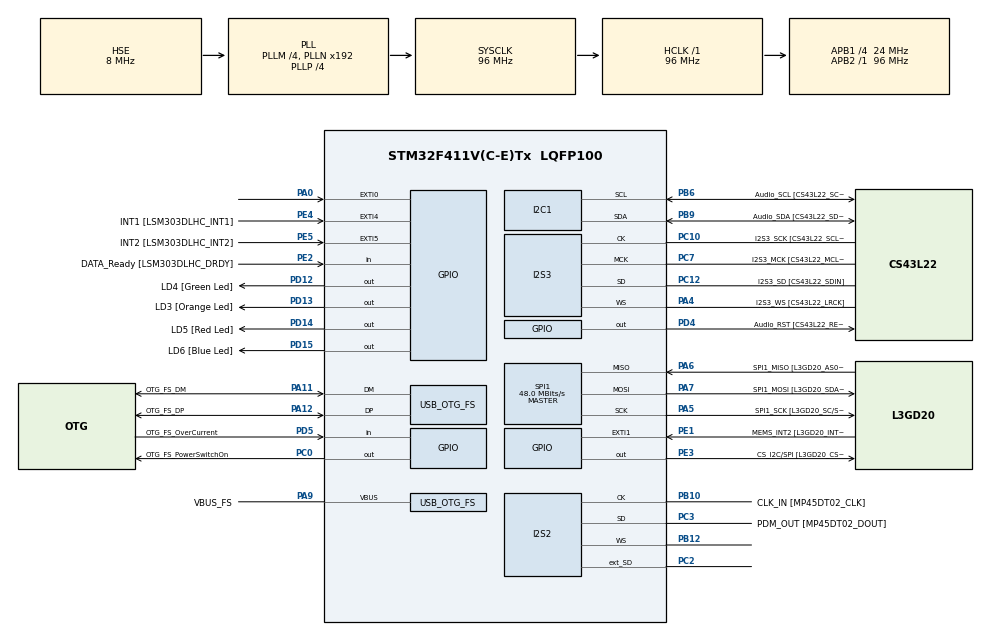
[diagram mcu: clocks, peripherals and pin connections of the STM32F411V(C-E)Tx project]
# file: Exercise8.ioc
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FREERTOS.BinarySemaphores01=CriticalResourceSemaphore,Dynamic,NULL
FREERTOS.Tasks01=GreenLEDTask,0,128,StartGreenLEDTask,Default,NULL,Dynamic,NULL,NULL;RedLEDTask,0,128,StartRedLEDTask,Default,NULL,Dynamic,NULL,NULL;OrangeLEDTask,1,128,StartOrangeLEDTask,Default,NULL,Dynamic,NULL,NULL
I2S2.AudioFreq=I2S_AUDIOFREQ_96K
I2S2.ErrorAudioFreq=0.15 %
I2S2.FullDuplexMode=I2S_FULLDUPLEXMODE_ENABLE
I2S2.Instance=SPI$Index
I2S2.RealAudioFreq=96.153 KHz
I2S2.VirtualMode=I2S_MODE_MASTER
I2S3.AudioFreq=I2S_AUDIOFREQ_96K
I2S3.ErrorAudioFreq=-6.99 %
I2S3.FullDuplexMode=I2S_FULLDUPLEXMODE_DISABLE
I2S3.Instance=SPI$Index
I2S3.RealAudioFreq=89.285 KHz
I2S3.VirtualMode=I2S_MODE_MASTER
Mcu.Family=STM32F4
Mcu.Name=STM32F411V(C-E)Tx
Mcu.Package=LQFP100
NVIC.OTG_FS_IRQn=true\:5\:0\:false\:false\:true\:true\:true\:true
NVIC.PriorityGroup=NVIC_PRIORITYGROUP_4
NVIC.TIM1_UP_TIM10_IRQn=true\:0\:0\:false\:false\:true\:false\:false\:true
NVIC.TimeBase=TIM1_UP_TIM10_IRQn
NVIC.TimeBaseIP=TIM1
PA0-WKUP.GPIO_ModeDefaultEXTI=GPIO_MODE_EVT_RISING
PA0-WKUP.Signal=GPXTI0
PA10.GPIO_Label=OTG_FS_ID
PA10.Signal=USB_OTG_FS_ID
PA11.GPIO_Label=OTG_FS_DM
PA11.Mode=Host_Only
PA11.Signal=USB_OTG_FS_DM
PA12.GPIO_Label=OTG_FS_DP
PA12.Mode=Host_Only
PA12.Signal=USB_OTG_FS_DP
PA13.GPIO_Label=SWDIO
PA13.Mode=Serial_Wire
PA13.Signal=SYS_JTMS-SWDIO
PA14.GPIO_Label=SWCLK
PA14.Mode=Serial_Wire
PA14.Signal=SYS_JTCK-SWCLK
PA4.GPIO_Label=I2S3_WS [CS43L22_LRCK]
PA4.GPIO_Mode=GPIO_MODE_AF_PP
PA4.GPIO_PuPd=GPIO_NOPULL
PA4.GPIO_Speed=GPIO_SPEED_FREQ_LOW
PA4.Mode=Half_Duplex_Master
PA4.Signal=I2S3_WS
PA5.GPIO_Label=SPI1_SCK [L3GD20_SC/SPC]
PA5.Mode=Full_Duplex_Master
PA5.Signal=SPI1_SCK
PA6.GPIO_Label=SPI1_MISO [L3GD20_AS0/SDO]
PA6.Mode=Full_Duplex_Master
PA6.Signal=SPI1_MISO
PA7.GPIO_Label=SPI1_MOSI [L3GD20_SDA/SDI/SDO]
PA7.Mode=Full_Duplex_Master
PA7.Signal=SPI1_MOSI
PA9.GPIO_Label=VBUS_FS
PA9.Mode=Activate_VBUS
PA9.Signal=USB_OTG_FS_VBUS
PB10.GPIO_Label=CLK_IN [MP45DT02_CLK]
PB10.Mode=Full_Duplex_Master
PB10.Signal=I2S2_CK
PB12.Mode=Full_Duplex_Master
PB12.Signal=I2S2_WS
PB3.GPIO_Label=SWO
PB3.Signal=SYS_JTDO-SWO
PB6.GPIO_Label=Audio_SCL [CS43L22_SCL]
PB6.GPIO_Mode=GPIO_MODE_AF_OD
PB6.GPIO_PuPd=GPIO_NOPULL
PB6.GPIO_Speed=GPIO_SPEED_FREQ_LOW
PB6.Mode=I2C
PB6.Signal=I2C1_SCL
PB9.GPIO_Label=Audio_SDA [CS43L22_SDA]
PB9.GPIO_Mode=GPIO_MODE_AF_OD
PB9.GPIO_PuPd=GPIO_NOPULL
PB9.GPIO_Speed=GPIO_SPEED_FREQ_LOW
PB9.Mode=I2C
PB9.Signal=I2C1_SDA
PC0.GPIO_Label=OTG_FS_PowerSwitchOn
PC0.PinState=GPIO_PIN_SET
PC0.Signal=GPIO_Output
PC10.GPIO_Label=I2S3_SCK [CS43L22_SCLK]
PC10.GPIO_Mode=GPIO_MODE_AF_PP
PC10.GPIO_PuPd=GPIO_NOPULL
PC10.GPIO_Speed=GPIO_SPEED_FREQ_LOW
PC10.Mode=Half_Duplex_Master
PC10.Signal=I2S3_CK
PC12.GPIO_Label=I2S3_SD [CS43L22_SDIN]
PC12.GPIO_Mode=GPIO_MODE_AF_PP
PC12.GPIO_PuPd=GPIO_NOPULL
PC12.GPIO_Speed=GPIO_SPEED_FREQ_LOW
PC12.Mode=Half_Duplex_Master
PC12.Signal=I2S3_SD
PC14-OSC32_IN.GPIO_Label=PC14-OSC32_IN
PC14-OSC32_IN.Mode=LSE-External-Oscillator
PC14-OSC32_IN.Signal=RCC_OSC32_IN
PC15-OSC32_OUT.GPIO_Label=PC15-OSC32_OUT
PC15-OSC32_OUT.Mode=LSE-External-Oscillator
PC15-OSC32_OUT.Signal=RCC_OSC32_OUT
PC2.Mode=Full_Duplex_Master
PC2.Signal=I2S2_ext_SD
PC3.GPIO_Label=PDM_OUT [MP45DT02_DOUT]
PC3.Mode=Full_Duplex_Master
PC3.Signal=I2S2_SD
PC7.GPIO_Label=I2S3_MCK [CS43L22_MCLK]
PC7.GPIO_Mode=GPIO_MODE_AF_PP
PC7.GPIO_PuPd=GPIO_NOPULL
PC7.GPIO_Speed=GPIO_SPEED_FREQ_LOW
PC7.Mode=Master_Clock_Activated
PC7.Signal=I2S3_MCK
PD12.GPIO_Label=LD4 [Green Led]
PD12.GPIO_PuPd=GPIO_NOPULL
PD12.GPIO_Speed=GPIO_SPEED_FREQ_LOW
PD12.Signal=GPIO_Output
PD13.GPIO_Label=LD3 [Orange Led]
PD13.GPIO_PuPd=GPIO_NOPULL
PD13.GPIO_Speed=GPIO_SPEED_FREQ_LOW
PD13.Signal=GPIO_Output
PD14.GPIO_Label=LD5 [Red Led]
PD14.GPIO_PuPd=GPIO_NOPULL
PD14.GPIO_Speed=GPIO_SPEED_FREQ_LOW
PD14.Signal=GPIO_Output
PD15.GPIO_Label=LD6 [Blue Led]
PD15.GPIO_PuPd=GPIO_NOPULL
PD15.GPIO_Speed=GPIO_SPEED_FREQ_LOW
PD15.Signal=GPIO_Output
PD4.GPIO_Label=Audio_RST [CS43L22_RESET]
PD4.Signal=GPIO_Output
PD5.GPIO_Label=OTG_FS_OverCurrent
PD5.Signal=GPIO_Input
PE1.GPIO_Label=MEMS_INT2 [L3GD20_INT2]
PE1.GPIO_ModeDefaultEXTI=GPIO_MODE_EVT_RISING
PE1.Signal=GPXTI1
PE2.GPIO_Label=DATA_Ready [LSM303DLHC_DRDY]
PE2.Signal=GPIO_Input
PE3.GPIO_Label=CS_I2C/SPI [L3GD20_CS_I2C/SPI]
PE3.Signal=GPIO_Output
PE4.GPIO_Label=INT1 [LSM303DLHC_INT1]
PE4.GPIO_ModeDefaultEXTI=GPIO_MODE_EVT_RISING
PE4.Signal=GPXTI4
PE5.GPIO_Label=INT2 [LSM303DLHC_INT2]
PE5.GPIO_ModeDefaultEXTI=GPIO_MODE_EVT_RISING
PE5.Signal=GPXTI5
PH0\ -\ OSC_IN.GPIO_Label=PH0-OSC_IN
PH0\ -\ OSC_IN.Mode=HSE-External-Oscillator
PH0\ -\ OSC_IN.Signal=RCC_OSC_IN
PH1\ -\ OSC_OUT.GPIO_Label=PH1-OSC_OUT
PH1\ -\ OSC_OUT.Mode=HSE-External-Oscillator
PH1\ -\ OSC_OUT.Signal=RCC_OSC_OUT
ProjectManager.HeapSize=0x200
ProjectManager.StackSize=0x400
ProjectManager.TargetToolchain=STM32CubeIDE
RCC.48MHZClocksFreq_Value=48000000
RCC.AHBFreq_Value=96000000
RCC.APB1CLKDivider=RCC_HCLK_DIV4
RCC.APB1Freq_Value=24000000
RCC.APB1TimFreq_Value=48000000
RCC.APB2Freq_Value=96000000
RCC.APB2TimFreq_Value=96000000
RCC.CortexFreq_Value=96000000
RCC.HCLKFreq_Value=96000000
RCC.HSE_VALUE=8000000
RCC.HSI_VALUE=16000000
RCC.PLLI2SM=5
RCC.PLLI2SN=200
RCC.PLLM=4
RCC.PLLP=RCC_PLLP_DIV4
RCC.PLLQ=8
RCC.SYSCLKFreq_VALUE=96000000
RCC.SYSCLKSource=RCC_SYSCLKSOURCE_PLLCLK
RCC.VCOOutputFreq_Value=384000000
SPI1.BaudRatePrescaler=SPI_BAUDRATEPRESCALER_2
SPI1.CalculateBaudRate=48.0 MBits/s
SPI1.Direction=SPI_DIRECTION_2LINES
SPI1.Mode=SPI_MODE_MASTER
SPI1.VirtualType=VM_MASTER
USB_OTG_FS.VirtualMode=Host_Only
USB_OTG_FS.phy_itface=HCD_PHY_EMBEDDED
VP_FREERTOS_VS_CMSIS_V1.Mode=CMSIS_V1
VP_SYS_VS_tim1.Mode=TIM1
board=STM32F411E-DISCO

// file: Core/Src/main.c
/* USER CODE BEGIN Header */
/**
  ******************************************************************************
  * @file           : main.c
  * @brief          : Main program body
  ******************************************************************************
  * @attention
  *
  * <h2><center>&copy; Copyright (c) 2024 STMicroelectronics.
  * All rights reserved.</center></h2>
  *
  * This software component is licensed by ST under Ultimate Liberty license
  * SLA0044, the "License"; You may not use this file except in compliance with
  * the License. You may obtain a copy of the License at:
  *                             www.st.com/SLA0044
  *
  ******************************************************************************
  */
/* USER CODE END Header */

#include "main.h"
#include "cmsis_os.h"

I2C_HandleTypeDef hi2c1;

I2S_HandleTypeDef hi2s2;
I2S_HandleTypeDef hi2s3;

SPI_HandleTypeDef hspi1;

HCD_HandleTypeDef hhcd_USB_OTG_FS;

osThreadId GreenLEDTaskHandle;
osThreadId RedLEDTaskHandle;
osThreadId OrangeLEDTaskHandle;
osSemaphoreId CriticalResourceSemaphoreHandle;

void SystemClock_Config(void);
static void MX_GPIO_Init(void);
static void MX_I2C1_Init(void);
static void MX_I2S2_Init(void);
static void MX_I2S3_Init(void);
static void MX_SPI1_Init(void);
static void MX_USB_OTG_FS_HCD_Init(void);
void StartGreenLEDTask(void const * argument);
void StartRedLEDTask(void const * argument);
void StartOrangeLEDTask(void const * argument);

int main(void)
{

  /* MCU Configuration--------------------------------------------------------*/

  /* Reset of all peripherals, Initializes the Flash interface and the Systick. */
  HAL_Init();

  /* Configure the system clock */
  SystemClock_Config();

  /* Initialize all configured peripherals */
  MX_GPIO_Init();
  MX_I2C1_Init();
  MX_I2S2_Init();
  MX_I2S3_Init();
  MX_SPI1_Init();
  MX_USB_OTG_FS_HCD_Init();

  /* Create the semaphores(s) */
  /* definition and creation of CriticalResourceSemaphore */
  osSemaphoreDef(CriticalResourceSemaphore);
  CriticalResourceSemaphoreHandle = osSemaphoreCreate(osSemaphore(CriticalResourceSemaphore), 1);

  /* Create the thread(s) */
  /* definition and creation of GreenLEDTask */
  osThreadDef(GreenLEDTask, StartGreenLEDTask, osPriorityNormal, 0, 128);
  GreenLEDTaskHandle = osThreadCreate(osThread(GreenLEDTask), NULL);

  /* definition and creation of RedLEDTask */
  osThreadDef(RedLEDTask, StartRedLEDTask, osPriorityNormal, 0, 128);
  RedLEDTaskHandle = osThreadCreate(osThread(RedLEDTask), NULL);

  /* definition and creation of OrangeLEDTask */
  osThreadDef(OrangeLEDTask, StartOrangeLEDTask, osPriorityAboveNormal, 0, 128);
  OrangeLEDTaskHandle = osThreadCreate(osThread(OrangeLEDTask), NULL);

  /* Start scheduler */
  osKernelStart();

  /* We should never get here as control is now taken by the scheduler */

  /* Infinite loop */
  while (1)
  {

  }
}

void SystemClock_Config(void)
{
  RCC_OscInitTypeDef RCC_OscInitStruct = {0};
  RCC_ClkInitTypeDef RCC_ClkInitStruct = {0};
  RCC_PeriphCLKInitTypeDef PeriphClkInitStruct = {0};

  /** Configure the main internal regulator output voltage
  */
  __HAL_RCC_PWR_CLK_ENABLE();
  __HAL_PWR_VOLTAGESCALING_CONFIG(PWR_REGULATOR_VOLTAGE_SCALE1);
  /** Initializes the CPU, AHB and APB busses clocks
  */
  RCC_OscInitStruct.OscillatorType = RCC_OSCILLATORTYPE_HSE;
  RCC_OscInitStruct.HSEState = RCC_HSE_ON;
  RCC_OscInitStruct.PLL.PLLState = RCC_PLL_ON;
  RCC_OscInitStruct.PLL.PLLSource = RCC_PLLSOURCE_HSE;
  RCC_OscInitStruct.PLL.PLLM = 4;
  RCC_OscInitStruct.PLL.PLLN = 192;
  RCC_OscInitStruct.PLL.PLLP = RCC_PLLP_DIV4;
  RCC_OscInitStruct.PLL.PLLQ = 8;
  if (HAL_RCC_OscConfig(&RCC_OscInitStruct) != HAL_OK)
  {
    Error_Handler();
  }
  /** Initializes the CPU, AHB and APB busses clocks
  */
  RCC_ClkInitStruct.ClockType = RCC_CLOCKTYPE_HCLK|RCC_CLOCKTYPE_SYSCLK
                              |RCC_CLOCKTYPE_PCLK1|RCC_CLOCKTYPE_PCLK2;
  RCC_ClkInitStruct.SYSCLKSource = RCC_SYSCLKSOURCE_PLLCLK;
  RCC_ClkInitStruct.AHBCLKDivider = RCC_SYSCLK_DIV1;
  RCC_ClkInitStruct.APB1CLKDivider = RCC_HCLK_DIV4;
  RCC_ClkInitStruct.APB2CLKDivider = RCC_HCLK_DIV1;

  if (HAL_RCC_ClockConfig(&RCC_ClkInitStruct, FLASH_LATENCY_3) != HAL_OK)
  {
    Error_Handler();
  }
  PeriphClkInitStruct.PeriphClockSelection = RCC_PERIPHCLK_I2S;
  PeriphClkInitStruct.PLLI2S.PLLI2SN = 200;
  PeriphClkInitStruct.PLLI2S.PLLI2SM = 5;
  PeriphClkInitStruct.PLLI2S.PLLI2SR = 2;
  if (HAL_RCCEx_PeriphCLKConfig(&PeriphClkInitStruct) != HAL_OK)
  {
    Error_Handler();
  }
}

static void MX_I2C1_Init(void)
{

  hi2c1.Instance = I2C1;
  hi2c1.Init.ClockSpeed = 100000;
  hi2c1.Init.DutyCycle = I2C_DUTYCYCLE_2;
  hi2c1.Init.OwnAddress1 = 0;
  hi2c1.Init.AddressingMode = I2C_ADDRESSINGMODE_7BIT;
  hi2c1.Init.DualAddressMode = I2C_DUALADDRESS_DISABLE;
  hi2c1.Init.OwnAddress2 = 0;
  hi2c1.Init.GeneralCallMode = I2C_GENERALCALL_DISABLE;
  hi2c1.Init.NoStretchMode = I2C_NOSTRETCH_DISABLE;
  if (HAL_I2C_Init(&hi2c1) != HAL_OK)
  {
    Error_Handler();
  }

}

static void MX_I2S2_Init(void)
{

  hi2s2.Instance = SPI2;
  hi2s2.Init.Mode = I2S_MODE_MASTER_TX;
  hi2s2.Init.Standard = I2S_STANDARD_PHILIPS;
  hi2s2.Init.DataFormat = I2S_DATAFORMAT_16B;
  hi2s2.Init.MCLKOutput = I2S_MCLKOUTPUT_DISABLE;
  hi2s2.Init.AudioFreq = I2S_AUDIOFREQ_96K;
  hi2s2.Init.CPOL = I2S_CPOL_LOW;
  hi2s2.Init.ClockSource = I2S_CLOCK_PLL;
  hi2s2.Init.FullDuplexMode = I2S_FULLDUPLEXMODE_ENABLE;
  if (HAL_I2S_Init(&hi2s2) != HAL_OK)
  {
    Error_Handler();
  }

}

static void MX_I2S3_Init(void)
{

  hi2s3.Instance = SPI3;
  hi2s3.Init.Mode = I2S_MODE_MASTER_TX;
  hi2s3.Init.Standard = I2S_STANDARD_PHILIPS;
  hi2s3.Init.DataFormat = I2S_DATAFORMAT_16B;
  hi2s3.Init.MCLKOutput = I2S_MCLKOUTPUT_ENABLE;
  hi2s3.Init.AudioFreq = I2S_AUDIOFREQ_96K;
  hi2s3.Init.CPOL = I2S_CPOL_LOW;
  hi2s3.Init.ClockSource = I2S_CLOCK_PLL;
  hi2s3.Init.FullDuplexMode = I2S_FULLDUPLEXMODE_DISABLE;
  if (HAL_I2S_Init(&hi2s3) != HAL_OK)
  {
    Error_Handler();
  }

}

static void MX_SPI1_Init(void)
{

  /* SPI1 parameter configuration*/
  hspi1.Instance = SPI1;
  hspi1.Init.Mode = SPI_MODE_MASTER;
  hspi1.Init.Direction = SPI_DIRECTION_2LINES;
  hspi1.Init.DataSize = SPI_DATASIZE_8BIT;
  hspi1.Init.CLKPolarity = SPI_POLARITY_LOW;
  hspi1.Init.CLKPhase = SPI_PHASE_1EDGE;
  hspi1.Init.NSS = SPI_NSS_SOFT;
  hspi1.Init.BaudRatePrescaler = SPI_BAUDRATEPRESCALER_2;
  hspi1.Init.FirstBit = SPI_FIRSTBIT_MSB;
  hspi1.Init.TIMode = SPI_TIMODE_DISABLE;
  hspi1.Init.CRCCalculation = SPI_CRCCALCULATION_DISABLE;
  hspi1.Init.CRCPolynomial = 10;
  if (HAL_SPI_Init(&hspi1) != HAL_OK)
  {
    Error_Handler();
  }

}

static void MX_USB_OTG_FS_HCD_Init(void)
{

  hhcd_USB_OTG_FS.Instance = USB_OTG_FS;
  hhcd_USB_OTG_FS.Init.Host_channels = 8;
  hhcd_USB_OTG_FS.Init.speed = HCD_SPEED_FULL;
  hhcd_USB_OTG_FS.Init.dma_enable = DISABLE;
  hhcd_USB_OTG_FS.Init.phy_itface = HCD_PHY_EMBEDDED;
  hhcd_USB_OTG_FS.Init.Sof_enable = DISABLE;
  if (HAL_HCD_Init(&hhcd_USB_OTG_FS) != HAL_OK)
  {
    Error_Handler();
  }

}

static void MX_GPIO_Init(void)
{
  GPIO_InitTypeDef GPIO_InitStruct = {0};

  /* GPIO Ports Clock Enable */
  __HAL_RCC_GPIOE_CLK_ENABLE();
  __HAL_RCC_GPIOC_CLK_ENABLE();
  __HAL_RCC_GPIOH_CLK_ENABLE();
  __HAL_RCC_GPIOA_CLK_ENABLE();
  __HAL_RCC_GPIOB_CLK_ENABLE();
  __HAL_RCC_GPIOD_CLK_ENABLE();

  /*Configure GPIO pin Output Level */
  HAL_GPIO_WritePin(CS_I2C_SPI_GPIO_Port, CS_I2C_SPI_Pin, GPIO_PIN_RESET);

  /*Configure GPIO pin Output Level */
  HAL_GPIO_WritePin(OTG_FS_PowerSwitchOn_GPIO_Port, OTG_FS_PowerSwitchOn_Pin, GPIO_PIN_SET);

  /*Configure GPIO pin Output Level */
  HAL_GPIO_WritePin(GPIOD, LD4_Pin|LD3_Pin|LD5_Pin|LD6_Pin
                          |Audio_RST_Pin, GPIO_PIN_RESET);

  /*Configure GPIO pin : DATA_Ready_Pin */
  GPIO_InitStruct.Pin = DATA_Ready_Pin;
  GPIO_InitStruct.Mode = GPIO_MODE_INPUT;
  GPIO_InitStruct.Pull = GPIO_NOPULL;
  HAL_GPIO_Init(DATA_Ready_GPIO_Port, &GPIO_InitStruct);

  /*Configure GPIO pin : CS_I2C_SPI_Pin */
  GPIO_InitStruct.Pin = CS_I2C_SPI_Pin;
  GPIO_InitStruct.Mode = GPIO_MODE_OUTPUT_PP;
  GPIO_InitStruct.Pull = GPIO_NOPULL;
  GPIO_InitStruct.Speed = GPIO_SPEED_FREQ_LOW;
  HAL_GPIO_Init(CS_I2C_SPI_GPIO_Port, &GPIO_InitStruct);

  /*Configure GPIO pins : INT1_Pin INT2_Pin MEMS_INT2_Pin */
  GPIO_InitStruct.Pin = INT1_Pin|INT2_Pin|MEMS_INT2_Pin;
  GPIO_InitStruct.Mode = GPIO_MODE_EVT_RISING;
  GPIO_InitStruct.Pull = GPIO_NOPULL;
  HAL_GPIO_Init(GPIOE, &GPIO_InitStruct);

  /*Configure GPIO pin : OTG_FS_PowerSwitchOn_Pin */
  GPIO_InitStruct.Pin = OTG_FS_PowerSwitchOn_Pin;
  GPIO_InitStruct.Mode = GPIO_MODE_OUTPUT_PP;
  GPIO_InitStruct.Pull = GPIO_NOPULL;
  GPIO_InitStruct.Speed = GPIO_SPEED_FREQ_LOW;
  HAL_GPIO_Init(OTG_FS_PowerSwitchOn_GPIO_Port, &GPIO_InitStruct);

  /*Configure GPIO pin : PA0 */
  GPIO_InitStruct.Pin = GPIO_PIN_0;
  GPIO_InitStruct.Mode = GPIO_MODE_EVT_RISING;
  GPIO_InitStruct.Pull = GPIO_NOPULL;
  HAL_GPIO_Init(GPIOA, &GPIO_InitStruct);

  /*Configure GPIO pins : LD4_Pin LD3_Pin LD5_Pin LD6_Pin
                           Audio_RST_Pin */
  GPIO_InitStruct.Pin = LD4_Pin|LD3_Pin|LD5_Pin|LD6_Pin
                          |Audio_RST_Pin;
  GPIO_InitStruct.Mode = GPIO_MODE_OUTPUT_PP;
  GPIO_InitStruct.Pull = GPIO_NOPULL;
  GPIO_InitStruct.Speed = GPIO_SPEED_FREQ_LOW;
  HAL_GPIO_Init(GPIOD, &GPIO_InitStruct);

  /*Configure GPIO pin : OTG_FS_OverCurrent_Pin */
  GPIO_InitStruct.Pin = OTG_FS_OverCurrent_Pin;
  GPIO_InitStruct.Mode = GPIO_MODE_INPUT;
  GPIO_InitStruct.Pull = GPIO_NOPULL;
  HAL_GPIO_Init(OTG_FS_OverCurrent_GPIO_Port, &GPIO_InitStruct);

}

/* USER CODE BEGIN 4 */
int Start_Flag = 1;
void Access_Function()
{
	if (Start_Flag == 1)
	{
		Start_Flag = 0;
	}
	else
	{
		HAL_GPIO_TogglePin(GPIOD, GPIO_PIN_15);

	}
	for(int i = 0; i < 2000000; ++i);
	Start_Flag = 1;
	return;
}
/* USER CODE END 4 */

void StartGreenLEDTask(void const * argument)
{
  /* USER CODE BEGIN 5 */
  /* Infinite loop */
  for(;;)
  {
	HAL_GPIO_WritePin(GPIOD, GPIO_PIN_12, GPIO_PIN_SET);// turn green led on
	osSemaphoreWait(CriticalResourceSemaphoreHandle, osWaitForever);//semaphore P (wait)
	Access_Function();
	osSemaphoreRelease(CriticalResourceSemaphoreHandle);//semaphore V (signal)
	osDelay(200);// 200 ms delay
	HAL_GPIO_WritePin(GPIOD, GPIO_PIN_12, GPIO_PIN_RESET);//turn green led off
	osDelay(200);// 200 ms delay
  }
  /* USER CODE END 5 */
}

void StartRedLEDTask(void const * argument)
{
  /* USER CODE BEGIN StartRedLEDTask */
  /* Infinite loop */
  for(;;)
  {
	HAL_GPIO_WritePin(GPIOD, GPIO_PIN_14, GPIO_PIN_SET);// turn red led on
	osSemaphoreWait(CriticalResourceSemaphoreHandle, osWaitForever);// semaphore P(wait)
	Access_Function();
	osSemaphoreRelease(CriticalResourceSemaphoreHandle);//semaphore V(signal)
    osDelay(550);//550 ms delay
    HAL_GPIO_WritePin(GPIOD, GPIO_PIN_14, GPIO_PIN_RESET);//turn red led off
    osDelay(550);//550 ms delay
  }
  /* USER CODE END StartRedLEDTask */
}

void StartOrangeLEDTask(void const * argument)
{
  /* USER CODE BEGIN StartOrangeLEDTask */
  /* Infinite loop */
  for(;;)
  {
	HAL_GPIO_TogglePin(GPIOD, GPIO_PIN_13);// toggle orange led
    osDelay(50); // 50mS Delay
  }
  /* USER CODE END StartOrangeLEDTask */
}

void HAL_TIM_PeriodElapsedCallback(TIM_HandleTypeDef *htim)
{
  if (htim->Instance == TIM1) {
    HAL_IncTick();
  }
}

void Error_Handler(void)
{
}

/************************ (C) COPYRIGHT STMicroelectronics *****END OF FILE****/
